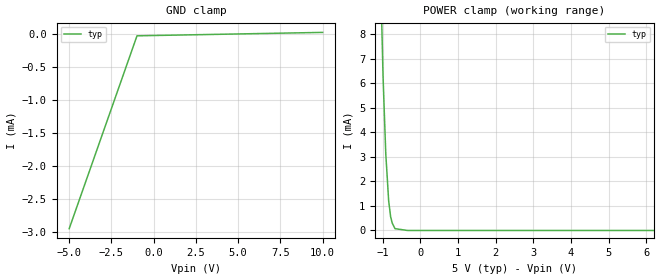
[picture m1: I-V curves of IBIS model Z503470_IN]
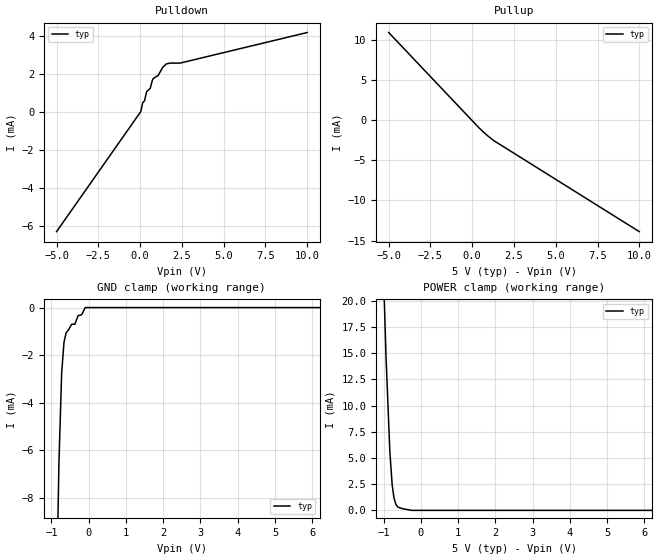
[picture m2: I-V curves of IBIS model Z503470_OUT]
| YOU ARE ONLY AUTHORIZED TO USE THIS SOFTWARE
| ACCORDING TO LICENSOR'S LICENSE RESTRICTIONS.
[IBIS Ver] 3.1
[File Name] mc14012bcl.ibs
[File Rev] 2.0
[Source] Measured and created by ICX Technology
[Date] Friday 7/14/00 9:07:51 AM
[Copyright]
| (C) COPYRIGHT 1993-2000
| MENTOR GRAPHICS CORPORATION
| ICX STANDARD LIBRARY, ICX PROJECT MODELING,
| ICX CUSTOM MODELING, ICX VENDOR MODEL
| ALL RIGHTS RESERVED.
| THE FOLLOWING ARE TRADEMARKS OR SERVICE MARKS OF
| MENTOR GRAPHICS CORPORATION:ICX (R), ICX STANDARD
| LIBRARY(R), ICX PROJECT MODELING(R), ICX CUSTOM
| MODELING(R), qualityIBIS(TM), MODELVIEWER(TM),
| AND MODELEDITOR(TM)
| ALL COPIES OF SOFTWARE, INCLUDING BUT NOT LIMITED TO
| ANY MODIFICATIONS, ENHANCEMENTS OR DERIVATIVE WORKS,
| MUST CONTAIN ALL MENTOR GRAPHICS CORPORATION'S
| NOTICES AND LEGENDS, INCLUDING THOSE EMBEDDED IN
| SOFTWARE AND THOSE AFFIXED TO SOFTWARE MEDIUM
| AND CONTAINER, AS RECEIVED FROM MENTOR GRAPHICS
| CORPORATION.
|  ZAP Model Builder 2.7
[Component] MC14012BCL
[Manufacturer] OnSemiconductor
[Package]
| variable   typ   min   max
R_pkg  .21ohms NA NA
L_pkg  4.543nH NA NA
C_pkg  1.8pF NA NA
[Pin] signal_name  model_name  R_pin  L_pin C_pin
1 OUTA Z503470_OUT .22 6.757n 2.434p
2 IN1A Z503470_IN .212 4.757n 1.941p
3 IN2A Z503470_IN .204 3.257n 1.448p
4 IN3A Z503470_IN .196 2.257n .955p
5 IN4A Z503470_IN .204 3.257n 1.448p
6 NC NC .212 4.757n 1.941p
7 VSS GND .22 6.757n 2.434p
8 NC NC .22 6.757n 2.434p
9 IN1B Z503470_IN .212 4.757n 1.941p
10 IN2B Z503470_IN .204 3.257n 1.448p
11 IN3B Z503470_IN .196 2.257n .955p
12 IN4B Z503470_IN .204 3.257n 1.448p
13 OUTB Z503470_OUT .212 4.757n 1.941p
14 VDD POWER .22 6.757n 2.434p
| Models and submodels in the file (2): Z503470_IN (Input), Z503470_OUT (Output)
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| (C) COPYRIGHT 1993-2000
| MENTOR GRAPHICS CORPORATION
| ICX STANDARD LIBRARY, ICX PROJECT MODELING,
| ICX CUSTOM MODELING, ICX VENDOR MODEL
| ALL RIGHTS RESERVED.
| THE FOLLOWING ARE TRADEMARKS OR SERVICE MARKS OF
| MENTOR GRAPHICS CORPORATION:ICX (R), ICX STANDARD
| LIBRARY(R), ICX PROJECT MODELING(R), ICX CUSTOM
| MODELING(R), qualityIBIS(TM), MODELVIEWER(TM),
| AND MODELEDITOR(TM)
| ALL COPIES OF SOFTWARE, INCLUDING BUT NOT LIMITED TO
| ANY MODIFICATIONS, ENHANCEMENTS OR DERIVATIVE WORKS,
| MUST CONTAIN ALL MENTOR GRAPHICS CORPORATION'S
| NOTICES AND LEGENDS, INCLUDING THOSE EMBEDDED IN
| SOFTWARE AND THOSE AFFIXED TO SOFTWARE MEDIUM
| AND CONTAINER, AS RECEIVED FROM MENTOR GRAPHICS
| CORPORATION.
| Model Application Version 1.89 2/18/99.
[Model] Z503470_IN
Model_type Input
Vinl = 1.500V
Vinh = 3.500V
C_comp 4.000pF NA NA
| variable typ   min   max
[Voltage Range] 5.000V NA NA
[GND Clamp Reference] 0.000V NA NA
[POWER Clamp Reference] 5.000V NA NA
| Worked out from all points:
|   POWER clamp passes 1 mA (typ) near -0.82 V on its own axis
[GND Clamp]
-5V       -2.948mA   NA         NA
-986.5mV  -26.51uA   NA         NA
10V       25.35uA    NA         NA
[POWER Clamp]
-5V       437.9mA    NA         NA
-1.303V   32.11mA    NA         NA
-1.084V   12.44mA    NA         NA
-986mV    6.267mA    NA         NA
-914mV    3.134mA    NA         NA
-837mV    1.203mA    NA         NA
-785mV    560.2uA    NA         NA
-744mV    306.2uA    NA         NA
-669mV    74.18uA    NA         NA
-334.5mV  0A         NA         NA
10V       0A         NA         NA
| (C) COPYRIGHT 1993-2000
| MENTOR GRAPHICS CORPORATION
| ICX STANDARD LIBRARY, ICX PROJECT MODELING,
| ICX CUSTOM MODELING, ICX VENDOR MODEL
| ALL RIGHTS RESERVED.
| THE FOLLOWING ARE TRADEMARKS OR SERVICE MARKS OF
| MENTOR GRAPHICS CORPORATION:ICX (R), ICX STANDARD
| LIBRARY(R), ICX PROJECT MODELING(R), ICX CUSTOM
| MODELING(R), qualityIBIS(TM), MODELVIEWER(TM),
| AND MODELEDITOR(TM)
| ALL COPIES OF SOFTWARE, INCLUDING BUT NOT LIMITED TO
| ANY MODIFICATIONS, ENHANCEMENTS OR DERIVATIVE WORKS,
| MUST CONTAIN ALL MENTOR GRAPHICS CORPORATION'S
| NOTICES AND LEGENDS, INCLUDING THOSE EMBEDDED IN
| SOFTWARE AND THOSE AFFIXED TO SOFTWARE MEDIUM
| AND CONTAINER, AS RECEIVED FROM MENTOR GRAPHICS
| CORPORATION.
| Model Application Version 1.89 2/18/99.
[Model] Z503470_OUT
Model_type Output
Vref=0.000V
Rref=500.0Mohms
Cref=50.00pF
Vmeas=2.500V
C_comp 8.000pF NA NA
| variable typ   min   max
[Voltage Range] 5.000V NA NA
[POWER Clamp Reference] 5.000V NA NA
[Pullup Reference] 5.000V NA NA
[Pulldown Reference] 0.000V NA NA
[GND Clamp Reference] 0.000V NA NA
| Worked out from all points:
|   slope of the pulldown table from 0 to 0.75 V, typ, clamps not added: 436 ohm
|   slope of the pullup table from 0 to 0.75 V, typ, clamps not added: 481 ohm
|   GND clamp passes 1 mA (typ) near -0.58 V on its own axis
|   POWER clamp passes 1 mA (typ) near -0.71 V on its own axis
[GND Clamp]
-5V       -371.7mA   NA         NA
-800.2mV  -6.557mA   NA         NA
-726.4mV  -2.742mA   NA         NA
-664.1mV  -1.459mA   NA         NA
-605.6mV  -1.057mA   NA         NA
-546.9mV  -946.5uA   NA         NA
-458.3mV  -700.6uA   NA         NA
-372.1mV  -700.6uA   NA         NA
-285.9mV  -340.6uA   NA         NA
-189.6mV  -301.7uA   NA         NA
-94.8mV   0A         NA         NA
10V       0A         NA         NA
[Pulldown]
-5V       -6.317mA   NA         NA
48.83mV   15.67uA    NA         NA
151.3mV   464.9uA    NA         NA
268.2mV   577.8uA    NA         NA
390.5mV   1.057mA    NA         NA
607.3mV   1.232mA    NA         NA
786.1mV   1.746mA    NA         NA
1.084V    1.914mA    NA         NA
1.361V    2.346mA    NA         NA
1.582V    2.523mA    NA         NA
2.398V    2.562mA    NA         NA
10V       4.171mA    NA         NA
[Pullup]
-5V       10.89mA    NA         NA
416mV     -994.5uA   NA         NA
845mV     -1.825mA   NA         NA
1.275V    -2.542mA   NA         NA
10V       -13.89mA   NA         NA
[POWER Clamp]
-5V       489mA      NA         NA
-938mV    14.88mA    NA         NA
-834mV    5.644mA    NA         NA
-771mV    2.421mA    NA         NA
-722mV    1.173mA    NA         NA
-669mV    552.4uA    NA         NA
-615mV    300.9uA    NA         NA
-498mV    164.7uA    NA         NA
-249mV    0A         NA         NA
10V       0A         NA         NA
[Ramp]
| variable typ min max
dV/dt_r 2.518/17.82n NA NA
dV/dt_f 2.518/24.21n NA NA
R_load = 2.500kOhms
